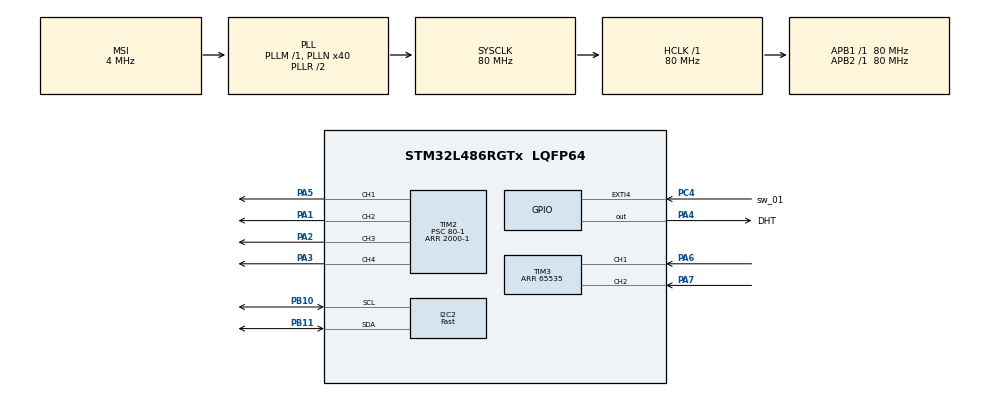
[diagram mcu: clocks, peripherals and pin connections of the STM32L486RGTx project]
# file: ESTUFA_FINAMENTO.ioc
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I2C2.I2C_Speed_Mode=I2C_Fast
I2C2.Timing=0x00702991
Mcu.Family=STM32L4
Mcu.Name=STM32L486RGTx
Mcu.Package=LQFP64
NVIC.EXTI4_IRQn=true\:0\:0\:false\:false\:true\:true\:true\:true
NVIC.PriorityGroup=NVIC_PRIORITYGROUP_4
PA1.Signal=S_TIM2_CH2
PA13\ (JTMS-SWDIO).Mode=Serial_Wire
PA13\ (JTMS-SWDIO).Signal=SYS_JTMS-SWDIO
PA14\ (JTCK-SWCLK).Mode=Serial_Wire
PA14\ (JTCK-SWCLK).Signal=SYS_JTCK-SWCLK
PA2.Signal=S_TIM2_CH3
PA3.Signal=S_TIM2_CH4
PA4.GPIO_Label=DHT
PA4.GPIO_PuPd=GPIO_NOPULL
PA4.PinState=GPIO_PIN_SET
PA4.Signal=GPIO_Output
PA5.GPIO_PuPd=GPIO_NOPULL
PA5.Signal=S_TIM2_CH1
PA6.GPIO_PuPd=GPIO_PULLUP
PA6.GPIO_Speed=GPIO_SPEED_FREQ_LOW
PA6.Signal=S_TIM3_CH1
PA7.GPIO_PuPd=GPIO_PULLUP
PA7.GPIO_Speed=GPIO_SPEED_FREQ_LOW
PA7.Signal=S_TIM3_CH2
PB10.Mode=I2C
PB10.Signal=I2C2_SCL
PB11.Mode=I2C
PB11.Signal=I2C2_SDA
PC4.GPIO_Label=sw_01
PC4.GPIO_ModeDefaultEXTI=GPIO_MODE_IT_FALLING
PC4.GPIO_PuPd=GPIO_PULLUP
PC4.Signal=GPXTI4
ProjectManager.HeapSize=0x800
ProjectManager.StackSize=0x1600
ProjectManager.TargetToolchain=CMake
RCC.AHBFreq_Value=80000000
RCC.APB1Freq_Value=80000000
RCC.APB1TimFreq_Value=80000000
RCC.APB2Freq_Value=80000000
RCC.APB2TimFreq_Value=80000000
RCC.CortexFreq_Value=80000000
RCC.HCLKFreq_Value=80000000
RCC.HSE_VALUE=8000000
RCC.HSI_VALUE=16000000
RCC.LSE_VALUE=32768
RCC.MSI_VALUE=4000000
RCC.PLLN=40
RCC.RCC_TIM_PRescaler_Selection=RCC_TIMPRES_DESACTIVATED
RCC.SYSCLKFreq_VALUE=80000000
RCC.SYSCLKSource=RCC_SYSCLKSOURCE_PLLCLK
RCC.VCOOutputFreq_Value=160000000
RTC.Alarm-Alarm\ A=RTC_ALARM_A
RTC.Date=18
RTC.Month=RTC_MONTH_OCTOBER
RTC.WeekDay=RTC_WEEKDAY_TUESDAY
RTC.Year=22
SH.S_TIM2_CH1.0=TIM2_CH1,PWM Generation1 CH1
SH.S_TIM2_CH2.0=TIM2_CH2,PWM Generation2 CH2
SH.S_TIM2_CH3.0=TIM2_CH3,PWM Generation3 CH3
SH.S_TIM2_CH4.0=TIM2_CH4,PWM Generation4 CH4
SH.S_TIM3_CH1.0=TIM3_CH1,Encoder_Interface
SH.S_TIM3_CH2.0=TIM3_CH2,Encoder_Interface
TIM17.AutoReloadPreload=TIM_AUTORELOAD_PRELOAD_ENABLE
TIM17.Prescaler=160
TIM2.Channel-PWM\ Generation1\ CH1=TIM_CHANNEL_1
TIM2.Channel-PWM\ Generation2\ CH2=TIM_CHANNEL_2
TIM2.Channel-PWM\ Generation3\ CH3=TIM_CHANNEL_3
TIM2.Channel-PWM\ Generation4\ CH4=TIM_CHANNEL_4
TIM2.OC1Preload_PWM=DISABLE
TIM2.OCPolarity_1=TIM_OCPOLARITY_HIGH
TIM2.Period=2000-1
TIM2.Prescaler=80-1
TIM3.AutoReloadPreload=TIM_AUTORELOAD_PRELOAD_ENABLE
TIM3.EncoderMode=TIM_ENCODERMODE_TI12
TIM3.IC1Filter=10
TIM3.IC1Polarity=TIM_ICPOLARITY_RISING
TIM3.IC2Filter=10
TIM3.IC2Polarity=TIM_ICPOLARITY_RISING
TIM3.Period=65535
VP_CRC_VS_CRC.Mode=CRC_Activate
VP_RTC_VS_RTC_Activate.Mode=RTC_Enabled
VP_RTC_VS_RTC_Alarm_A_Intern.Mode=Alarm A
VP_RTC_VS_RTC_Calendar.Mode=RTC_Calendar
VP_TIM17_VS_ClockSourceINT.Mode=Enable_Timer
VP_TIM2_VS_ClockSourceINT.Mode=Internal
board=custom

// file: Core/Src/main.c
/* USER CODE BEGIN Header */
/**
 ******************************************************************************
 * @file           : main.c
 * @brief          : Main program body
 ******************************************************************************
 * @attention
 *
 * <h2><center>&copy; Copyright (c) 2020 STMicroelectronics.
 * All rights reserved.</center></h2>
 *
 * This software component is licensed by ST under BSD 3-Clause license,
 * the "License"; You may not use this file except in compliance with the
 * License. You may obtain a copy of the License at:
 *                        opensource.org/licenses/BSD-3-Clause
 *
 ******************************************************************************
 */
/* USER CODE END Header */
#include "main.h"
#include "crc.h"
#include "i2c.h"
#include "rtc.h"
#include "tim.h"
#include "gpio.h"

/* USER CODE BEGIN Includes */
#include <stdio.h>
#include "DHT.h"
#include "delays.h"
#include "gifs.h"
#include "ssd1306.h"
#include "fonts.h"
#include "bitmaps.h"
#include "temperatura.h"
#include "menu.h"

#define ARM_MATH_CM4
/* USER CODE END Includes */

void SystemClock_Config(void);

/* USER CODE BEGIN 0 */
DHT_DataTypedef DHT11_Data;
float TempC = 0;
float TempC_Trab = 33.5;
extern uint32_t cont_tempo_troca_ar;
extern uint8_t cont_tempo_fan_on;

uint16_t Tempo_Trab = 0;
uint16_t Tempo_epoch = 0;
float Humidity = 0;
char MSG[50];
uint32_t Encoder_valor;
extern float duty_s;
extern float fan_s;
extern uint8_t em_processo;
uint8_t perfil = 0;

uint8_t fan1=0;
uint8_t fan2=0;
uint8_t fan3=0;

/* USER CODE END 0 */

int main(void)
{

  /* MCU Configuration--------------------------------------------------------*/

  /* Reset of all peripherals, Initializes the Flash interface and the Systick. */
  HAL_Init();

  /* Configure the system clock */
  SystemClock_Config();

  /* Initialize all configured peripherals */
  MX_GPIO_Init();
  MX_TIM2_Init();
  MX_TIM3_Init();
  MX_TIM17_Init();
  MX_I2C2_Init();
  MX_CRC_Init();
  MX_RTC_Init();
  /* USER CODE BEGIN 2 */
	HAL_TIM_Base_Start(&htim17);
	HAL_TIM_PWM_Start(&htim2, TIM_CHANNEL_1);
	HAL_TIM_PWM_Start(&htim2, TIM_CHANNEL_2);
	HAL_TIM_PWM_Start(&htim2, TIM_CHANNEL_3);
	HAL_TIM_PWM_Start(&htim2, TIM_CHANNEL_4);

	HAL_TIM_Encoder_Start(&htim3, TIM_CHANNEL_ALL);

	SSD1306_Init();

	htim2.Instance->CCR1 = (htim2.Init.Period);
	Temperatura_Init();
	set_material();
	htim2.Instance->CCR1 =0;
	htim2.Instance->CCR2 =0;
	htim2.Instance->CCR3 =0;
	htim2.Instance->CCR4 =0;

	/*		while (1)
	 {
	 HAL_GPIO_TogglePin(GPIOB, GPIO_PIN_12);
	 DelayUs(10);
	 }*/

  /* USER CODE END 2 */

  /* Infinite loop */
	while (1) {

    /* USER CODE BEGIN 3 */
		if (HAL_RTC_GetTime(&hrtc, &sTime, RTC_FORMAT_BIN) != HAL_OK) {
			Error_Handler();
		}

		if (HAL_RTC_GetDate(&hrtc, &sDate, RTC_FORMAT_BIN) != HAL_OK) {
			Error_Handler();
		}

		if (key_press() == 0) {
			htim2.Instance->CCR1 = 0;
			htim2.Instance->CCR2 = 0;
			htim2.Instance->CCR3 = 0;
			htim2.Instance->CCR4 = 0;
			em_processo = menu(&perfil);
		}
		if (em_processo == 1) {

			Tempo_epoch = (sTime.Hours * 60) + sTime.Minutes;
			Tempo_Trab = (Filament[perfil].TEMPO) - Tempo_epoch;

			if (Tempo_Trab == 0)
				HAL_NVIC_SystemReset(); //Reset

			DHT_GetData(&DHT11_Data);

			TempC = DHT11_Data.Temperature;
			Humidity = DHT11_Data.Humidity;
			TempC_Trab = Filament[perfil].TEMP;

			//liga fan1
			fan1 = 100;

			Temperatura();

			SSD1306_GotoXY(5, 18);
			sprintf(MSG, "T(%.2u) H(%.2u)", (int) TempC, (int) Humidity);
			SSD1306_Puts(MSG, &Font_11x18, 1);

			SSD1306_GotoXY(1, 3);
			sprintf(MSG, "%s:%.2d:%.2d-C:%.2u", Filament[perfil].MATERIAL,
					(Tempo_Trab/60),(Tempo_Trab%60), (int)TempC_Trab); //C%.2f, TempC_Trab);
			SSD1306_Puts(MSG, &Font_7x10, 1);

//			SSD1306_GotoXY(10, 40);
//			sprintf(MSG, "RS.%%%.3d F1.%%%.3d", (int) (duty_s),
//					(int) ((htim2.Instance->CCR2 * 100) / htim2.Init.Period));
//			SSD1306_Puts(MSG, &Font_7x10, 1);
//
//			SSD1306_GotoXY(10, 53);
//			sprintf(MSG, "F2.%%%.3d F3.%%%.3d ",
//					(int) ((htim2.Instance->CCR3 * 100) / htim2.Init.Period),
//					(int) ((htim2.Instance->CCR4 * 100) / htim2.Init.Period));
//			SSD1306_Puts(MSG, &Font_7x10, 1);

			SSD1306_GotoXY(10, 40);
			sprintf(MSG, "DT%%%.3d-F%.1d-I%1d-E%.1d", (int) (duty_s),
					(int) (((htim2.Instance->CCR2 * 100) / htim2.Init.Period)/100),
					(int) (((htim2.Instance->CCR4 * 100) / htim2.Init.Period)/100),
					(int) (((htim2.Instance->CCR3 * 100) / htim2.Init.Period)/100));
			SSD1306_Puts(MSG, &Font_7x10, 1);

			SSD1306_GotoXY(10, 53);
			sprintf(MSG, "TR:%.2d - TO:%.2d",(int) (cont_tempo_troca_ar/60),(int)(cont_tempo_fan_on));

			SSD1306_Puts(MSG, &Font_7x10, 1);

		} else {
			SSD1306_GotoXY(1, 3);
			sprintf(MSG, " Time: (%.2d:%.2d:%.2d)", sTime.Hours, sTime.Minutes,
					sTime.Seconds); //C%.2f, TempC_Trab);
			SSD1306_Puts(MSG, &Font_7x10, 1);
			DHT_GetData(&DHT11_Data);

			TempC = DHT11_Data.Temperature;
			Humidity = DHT11_Data.Humidity;

			SSD1306_GotoXY(5, 25);
			sprintf(MSG, "T(%.2u) H(%.2u)", (int) TempC, (int) Humidity);
			SSD1306_Puts(MSG, &Font_11x18, 1);

			htim2.Instance->CCR1 = 0;
			htim2.Instance->CCR2 = 0;
			htim2.Instance->CCR3 = 0;
			htim2.Instance->CCR4 = 0;

		}
		SSD1306_UpdateScreen();
		HAL_Delay(2000);
	}
  /* USER CODE END 3 */
}

void SystemClock_Config(void)
{
  RCC_OscInitTypeDef RCC_OscInitStruct = {0};
  RCC_ClkInitTypeDef RCC_ClkInitStruct = {0};

  /** Configure the main internal regulator output voltage
  */
  if (HAL_PWREx_ControlVoltageScaling(PWR_REGULATOR_VOLTAGE_SCALE1) != HAL_OK)
  {
    Error_Handler();
  }

  /** Initializes the RCC Oscillators according to the specified parameters
  * in the RCC_OscInitTypeDef structure.
  */
  RCC_OscInitStruct.OscillatorType = RCC_OSCILLATORTYPE_LSI|RCC_OSCILLATORTYPE_MSI;
  RCC_OscInitStruct.LSIState = RCC_LSI_ON;
  RCC_OscInitStruct.MSIState = RCC_MSI_ON;
  RCC_OscInitStruct.MSICalibrationValue = 0;
  RCC_OscInitStruct.MSIClockRange = RCC_MSIRANGE_6;
  RCC_OscInitStruct.PLL.PLLState = RCC_PLL_ON;
  RCC_OscInitStruct.PLL.PLLSource = RCC_PLLSOURCE_MSI;
  RCC_OscInitStruct.PLL.PLLM = 1;
  RCC_OscInitStruct.PLL.PLLN = 40;
  RCC_OscInitStruct.PLL.PLLP = RCC_PLLP_DIV7;
  RCC_OscInitStruct.PLL.PLLQ = RCC_PLLQ_DIV2;
  RCC_OscInitStruct.PLL.PLLR = RCC_PLLR_DIV2;
  if (HAL_RCC_OscConfig(&RCC_OscInitStruct) != HAL_OK)
  {
    Error_Handler();
  }

  /** Initializes the CPU, AHB and APB buses clocks
  */
  RCC_ClkInitStruct.ClockType = RCC_CLOCKTYPE_HCLK|RCC_CLOCKTYPE_SYSCLK
                              |RCC_CLOCKTYPE_PCLK1|RCC_CLOCKTYPE_PCLK2;
  RCC_ClkInitStruct.SYSCLKSource = RCC_SYSCLKSOURCE_PLLCLK;
  RCC_ClkInitStruct.AHBCLKDivider = RCC_SYSCLK_DIV1;
  RCC_ClkInitStruct.APB1CLKDivider = RCC_HCLK_DIV1;
  RCC_ClkInitStruct.APB2CLKDivider = RCC_HCLK_DIV1;

  if (HAL_RCC_ClockConfig(&RCC_ClkInitStruct, FLASH_LATENCY_4) != HAL_OK)
  {
    Error_Handler();
  }
}

void Error_Handler(void)
{
}
